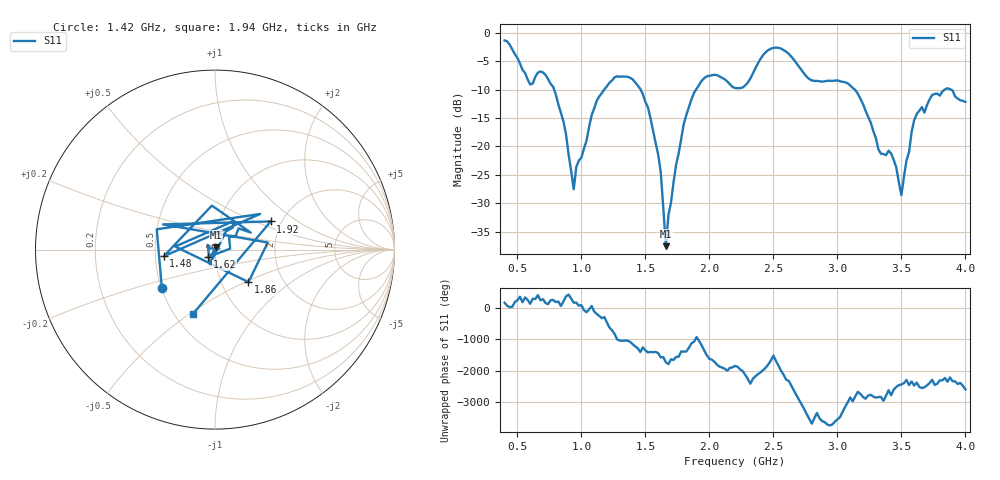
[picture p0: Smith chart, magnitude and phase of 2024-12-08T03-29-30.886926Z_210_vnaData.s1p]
!Created with skrf (http://scikit-rf.org).
# Hz S RI R 50.0
!freq ReS11 ImS11
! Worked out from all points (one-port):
!   181 points, 400 MHz to 4 GHz, reference 50 ohm
!   lowest |S11| = -37.6 dB at 1.66 GHz (marker M1), VSWR 1.03, Z = 50.4 + j1.27 ohm
!   |S11| at or under -10 dB: 787.1 MHz to 1.178 GHz (391.2 MHz wide, 39.8 % of centre); 1.463 GHz to 1.896 GHz (433.1 MHz wide, 25.8 % of centre); 3.136 GHz to 3.839 GHz (702.3 MHz wide, 20.1 % of centre) (the widest 3 of 4)
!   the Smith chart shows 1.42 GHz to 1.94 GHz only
!   S11 on the Smith chart (normalised r, x): 1.42 GHz: 0.50, -0.25; 1.48 GHz: 0.55, -0.05; 1.62 GHz: 0.92, -0.08; 1.86 GHz: 1.34, -0.52; 1.92 GHz: 1.76, +0.63; 1.94 GHz: 0.62, -0.52
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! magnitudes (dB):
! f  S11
! 400 MHz  -1.3
! 600 MHz  -9.1
! 720 MHz  -7.4
! 860 MHz  -15.6
! 940 MHz  -27.5
! 960 MHz  -23.6
! 1.12 GHz  -12.0
! 1.3 GHz  -7.7
! 1.42 GHz  -8.7
! 1.48 GHz  -10.8
! 1.62 GHz  -24.6
! 1.66 GHz  -37.6
! 1.68 GHz  -32.1
! 1.76 GHz  -21.2
! 1.86 GHz  -11.7
! 1.92 GHz  -9.2
! 1.94 GHz  -8.4
! 2.2 GHz  -9.7
! 2.48 GHz  -2.8
! 2.66 GHz  -4.7
! 3.1 GHz  -9.3
! 3.34 GHz  -21.3
! 3.42 GHz  -21.3
! 3.5 GHz  -28.6
! 3.56 GHz  -21.0
! 3.6 GHz  -15.4
! 3.74 GHz  -11.0
! 4 GHz  -12.2
